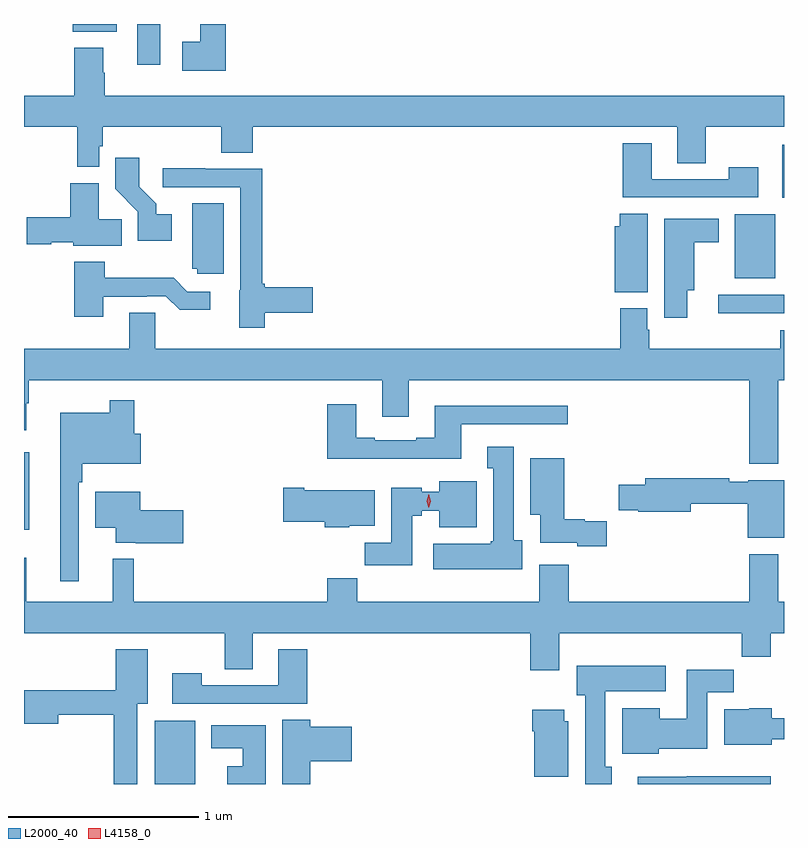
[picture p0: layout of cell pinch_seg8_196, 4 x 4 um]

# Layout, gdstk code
import gdstk
lib = gdstk.Library(unit=1e-6, precision=1e-09)
def R(c, l, rs):  # rectangles x0, y0, x1, y1
    for r in rs: c.add(gdstk.rectangle(r[:2], r[2:], *l))
def P(c, l, *ps):  # polygons
    for p in ps: c.add(gdstk.Polygon(p, *l))
L2000_40 = (2000, 40)
L4158_0 = (4158, 0)

pinch_seg8_196 = lib.new_cell('pinch_seg8_196')
R(pinch_seg8_196, L2000_40, [(633.986,1159.662,634.198,1159.996), (633.298,1160.999,633.325,1161.409), (636.951,1162.139,637.298,1162.236), (637.04,1162.325,637.252,1162.66), (637.289,1162.748,637.298,1163.026), (633.893,1163.448,634.015,1163.662), (633.554,1163.621,633.787,1163.662)])
P(pinch_seg8_196, L2000_40, [(634.361,1163.662),(634.226,1163.662),(634.226,1163.569),(634.131,1163.569),(634.131,1163.417),(634.361,1163.417)],
  [(633.693,1163.019),(633.713,1163.019),(633.713,1163.12),(634.337,1163.12),(634.337,1162.984),(634.502,1162.984),(634.502,1163.12),(636.737,1163.12),(636.737,1162.93),(636.885,1162.93),(636.885,1163.12),(637.298,1163.12),(637.298,1163.284),(633.723,1163.284),(633.723,1163.405),(633.715,1163.405),(633.715,1163.536),(633.563,1163.536),(633.563,1163.284),(633.298,1163.284),(633.298,1163.12),(633.577,1163.12),(633.577,1162.91),(633.693,1162.91)],
  [(637.162,1162.909),(637.006,1162.909),(637.006,1162.845),(636.601,1162.845),(636.601,1163.035),(636.449,1163.035),(636.449,1162.749),(637.162,1162.749)],
  [(634.075,1162.66),(633.994,1162.66),(633.994,1162.715),(633.904,1162.805),(633.904,1162.957),(633.778,1162.957),(633.778,1162.794),(633.897,1162.675),(633.897,1162.52),(634.075,1162.52)],
  [(634.566,1162.142),(634.819,1162.142),(634.819,1162.277),(634.566,1162.277),(634.566,1162.295),(634.553,1162.295),(634.553,1162.899),(634.253,1162.899),(634.253,1162.902),(634.029,1162.902),(634.029,1162.803),(634.437,1162.803),(634.437,1162.26),(634.43,1162.26),(634.43,1162.064),(634.566,1162.064)],
  [(633.812,1162.634),(633.691,1162.634),(633.691,1162.825),(633.542,1162.825),(633.542,1162.644),(633.312,1162.644),(633.312,1162.502),(633.441,1162.502),(633.441,1162.514),(633.558,1162.514),(633.558,1162.496),(633.812,1162.496)],
  [(634.348,1162.718),(634.184,1162.718),(634.184,1162.374),(634.209,1162.374),(634.209,1162.347),(634.348,1162.347)],
  [(636.58,1162.664),(636.434,1162.664),(636.434,1162.597),(636.407,1162.597),(636.407,1162.25),(636.58,1162.25)],
  [(636.79,1162.262),(636.826,1162.262),(636.826,1162.514),(636.955,1162.514),(636.955,1162.636),(636.668,1162.636),(636.668,1162.116),(636.79,1162.116)],
  [(633.715,1162.227),(633.944,1162.227),(633.944,1162.23),(634.044,1162.23),(634.117,1162.157),(634.279,1162.157),(634.279,1162.254),(634.158,1162.254),(634.085,1162.327),(633.723,1162.327),(633.723,1162.411),(633.563,1162.411),(633.563,1162.122),(633.715,1162.122)],
  [(637.267,1161.788),(637.298,1161.788),(637.298,1162.051),(637.277,1162.051),(637.277,1161.952),(636.59,1161.952),(636.59,1162.053),(636.577,1162.053),(636.577,1162.165),(636.437,1162.165),(636.437,1161.952),(633.99,1161.952),(633.99,1162.142),(633.851,1162.142),(633.851,1161.952),(633.298,1161.952),(633.298,1161.525),(633.31,1161.525),(633.31,1161.665),(633.322,1161.665),(633.322,1161.788),(635.183,1161.788),(635.183,1161.594),(635.323,1161.594),(635.323,1161.788),(637.115,1161.788),(637.115,1161.347),(637.267,1161.347)],
  [(633.585,1161.251),(633.605,1161.251),(633.605,1161.347),(633.913,1161.347),(633.913,1161.505),(633.878,1161.505),(633.878,1161.682),(633.75,1161.682),(633.75,1161.616),(633.488,1161.616),(633.488,1160.73),(633.585,1160.73)],
  [(635.599,1161.555),(636.16,1161.555),(636.16,1161.652),(635.459,1161.652),(635.459,1161.484),(635.363,1161.484),(635.363,1161.471),(635.143,1161.471),(635.143,1161.484),(635.047,1161.484),(635.047,1161.661),(634.895,1161.661),(634.895,1161.374),(635.599,1161.374)],
  [(635.92,1160.946),(635.875,1160.946),(635.875,1161.436),(635.735,1161.436),(635.735,1161.323),(635.768,1161.323),(635.768,1160.94),(635.755,1160.94),(635.755,1160.926),(635.451,1160.926),(635.451,1160.792),(635.92,1160.792)],
  [(636.365,1161.044),(636.249,1161.044),(636.249,1161.056),(636.142,1161.056),(636.142,1161.376),(635.963,1161.376),(635.963,1161.08),(636.014,1161.08),(636.014,1160.933),(636.21,1160.933),(636.21,1160.914),(636.365,1160.914)],
  [(637.298,1161.262),(637.11,1161.262),(637.11,1161.252),(637.01,1161.252),(637.01,1161.272),(636.569,1161.272),(636.569,1161.236),(636.427,1161.236),(636.427,1161.102),(636.532,1161.102),(636.532,1161.094),(636.808,1161.094),(636.808,1161.136),(637.106,1161.136),(637.106,1160.957),(637.298,1160.957)],
  [(635.341,1161.073),(635.391,1161.073),(635.391,1161.101),(635.483,1161.101),(635.483,1161.014),(635.68,1161.014),(635.68,1161.256),(635.483,1161.256),(635.483,1161.199),(635.391,1161.199),(635.391,1161.22),(635.231,1161.22),(635.231,1160.932),(635.092,1160.932),(635.092,1160.814),(635.341,1160.814)],
  [(635.01,1161.02),(635.143,1161.02),(635.143,1161.208),(634.774,1161.208),(634.774,1161.221),(634.662,1161.221),(634.662,1161.043),(634.88,1161.043),(634.88,1161.014),(635.01,1161.014)],
  [(634.135,1161.104),(633.91,1161.104),(633.91,1161.199),(633.674,1161.199),(633.674,1161.011),(633.782,1161.011),(633.782,1160.933),(633.886,1160.933),(633.886,1160.928),(634.135,1160.928)],
  [(634.354,1160.266),(634.501,1160.266),(634.501,1160.456),(635.963,1160.456),(635.963,1160.262),(636.115,1160.262),(636.115,1160.456),(637.075,1160.456),(637.075,1160.332),(637.227,1160.332),(637.227,1160.456),(637.298,1160.456),(637.298,1160.62),(637.267,1160.62),(637.267,1160.872),(637.115,1160.872),(637.115,1160.62),(636.164,1160.62),(636.164,1160.815),(636.011,1160.815),(636.011,1160.62),(635.051,1160.62),(635.051,1160.744),(634.895,1160.744),(634.895,1160.62),(633.876,1160.62),(633.876,1160.848),(633.764,1160.848),(633.764,1160.62),(633.311,1160.62),(633.311,1160.854),(633.298,1160.854),(633.298,1160.456),(634.354,1160.456)],
  [(633.895,1160.084),(633.949,1160.084),(633.949,1160.371),(633.782,1160.371),(633.782,1160.155),(633.298,1160.155),(633.298,1159.979),(633.478,1159.979),(633.478,1160.026),(633.77,1160.026),(633.77,1159.662),(633.895,1159.662)],
  [(634.79,1160.371),(634.637,1160.371),(634.637,1160.181),(634.233,1160.181),(634.233,1160.245),(634.077,1160.245),(634.077,1160.085),(634.79,1160.085)],
  [(636.391,1159.754),(636.358,1159.754),(636.358,1160.15),(636.676,1160.15),(636.676,1160.284),(636.206,1160.284),(636.206,1160.13),(636.251,1160.13),(636.251,1159.662),(636.391,1159.662)],
  [(636.639,1159.847),(636.895,1159.847),(636.895,1160.144),(637.034,1160.144),(637.034,1160.263),(636.785,1160.263),(636.785,1160.005),(636.643,1160.005),(636.643,1160.062),(636.446,1160.062),(636.446,1159.82),(636.639,1159.82)],
  [(637.234,1159.898),(637.298,1159.898),(637.298,1160.008),(637.234,1160.008),(637.234,1160.062),(637.116,1160.062),(637.116,1160.056),(636.983,1160.056),(636.983,1159.868),(637.234,1159.868)],
  [(636.163,1159.992),(636.142,1159.992),(636.142,1160.053),(635.972,1160.053),(635.972,1159.94),(635.984,1159.94),(635.984,1159.7),(636.163,1159.7)],
  [(634.805,1159.781),(635.023,1159.781),(635.023,1159.964),(634.805,1159.964),(634.805,1160),(634.658,1160),(634.658,1159.662),(634.805,1159.662)],
  [(634.57,1159.972),(634.283,1159.972),(634.283,1159.85),(634.448,1159.85),(634.448,1159.756),(634.367,1159.756),(634.367,1159.662),(634.57,1159.662)],
  [(637.227,1159.702),(636.786,1159.702),(636.786,1159.701),(636.527,1159.701),(636.527,1159.662),(637.227,1159.662)])
P(pinch_seg8_196, L4158_0, [(635.427,1161.115),(635.418,1161.151),(635.429,1161.187),(635.429,1161.187),(635.429,1161.187),(635.438,1161.151),(635.428,1161.115),(635.428,1161.115)])

lib.write_gds('pinch_seg8_196.gds')
